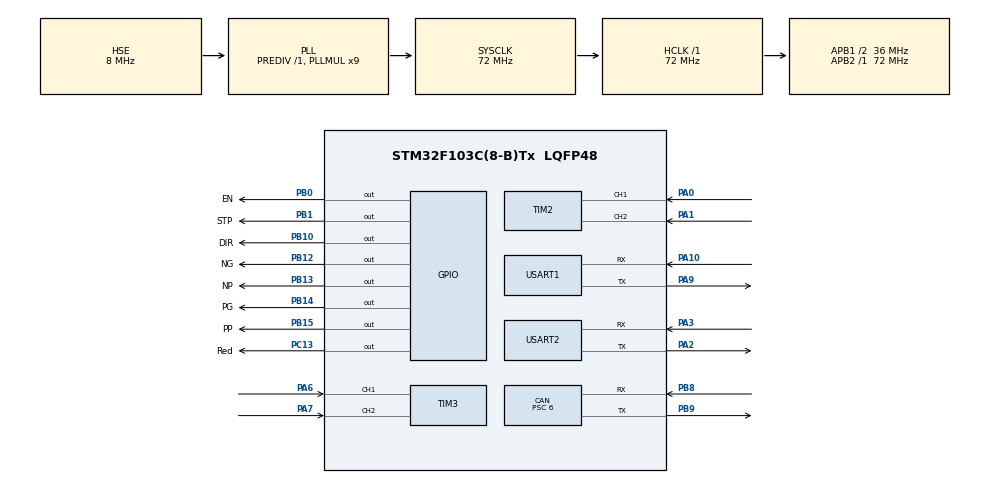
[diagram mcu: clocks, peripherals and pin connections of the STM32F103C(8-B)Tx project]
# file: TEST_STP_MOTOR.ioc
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CAN.BS1=CAN_BS1_2TQ
CAN.BS2=CAN_BS2_3TQ
CAN.CalculateBaudRate=999999
CAN.CalculateTimeBit=1000
CAN.CalculateTimeQuantum=166.66666666666669
CAN.NART=DISABLE
CAN.Prescaler=6
Mcu.Family=STM32F1
Mcu.Name=STM32F103C(8-B)Tx
Mcu.Package=LQFP48
NVIC.PriorityGroup=NVIC_PRIORITYGROUP_0
NVIC.TIM1_UP_IRQn=true\:0\:0\:false\:false\:true\:true\:true\:true
NVIC.TIM2_IRQn=true\:0\:0\:false\:false\:true\:true\:true\:true
NVIC.TIM3_IRQn=true\:0\:0\:false\:false\:true\:true\:true\:true
NVIC.USART1_IRQn=true\:0\:0\:false\:false\:true\:true\:true\:true
NVIC.USART2_IRQn=true\:0\:0\:false\:false\:true\:true\:true\:true
NVIC.USB_LP_CAN1_RX0_IRQn=true\:0\:0\:false\:false\:true\:true\:true\:true
PA0-WKUP.GPIO_PuPd=GPIO_PULLUP
PA0-WKUP.Signal=S_TIM2_CH1_ETR
PA1.GPIO_PuPd=GPIO_PULLUP
PA1.Signal=S_TIM2_CH2
PA10.Mode=Asynchronous
PA10.Signal=USART1_RX
PA13.Mode=Serial_Wire
PA13.Signal=SYS_JTMS-SWDIO
PA14.Mode=Serial_Wire
PA14.Signal=SYS_JTCK-SWCLK
PA2.Mode=Asynchronous
PA2.Signal=USART2_TX
PA3.Mode=Asynchronous
PA3.Signal=USART2_RX
PA6.GPIO_PuPd=GPIO_PULLUP
PA6.Signal=S_TIM3_CH1
PA7.GPIO_PuPd=GPIO_PULLUP
PA7.Signal=S_TIM3_CH2
PA9.Mode=Asynchronous
PA9.Signal=USART1_TX
PB0.GPIO_Label=EN
PB0.Signal=GPIO_Output
PB1.GPIO_Label=STP
PB1.Signal=GPIO_Output
PB10.GPIO_Label=DIR
PB10.Signal=GPIO_Output
PB12.GPIO_Label=NG
PB12.GPIO_Speed=GPIO_SPEED_FREQ_HIGH
PB12.PinState=GPIO_PIN_SET
PB12.Signal=GPIO_Output
PB13.GPIO_Label=NP
PB13.GPIO_Speed=GPIO_SPEED_FREQ_HIGH
PB13.PinState=GPIO_PIN_SET
PB13.Signal=GPIO_Output
PB14.GPIO_Label=PG
PB14.GPIO_Speed=GPIO_SPEED_FREQ_HIGH
PB14.PinState=GPIO_PIN_SET
PB14.Signal=GPIO_Output
PB15.GPIO_Label=PP
PB15.GPIO_Speed=GPIO_SPEED_FREQ_HIGH
PB15.PinState=GPIO_PIN_SET
PB15.Signal=GPIO_Output
PB8.Mode=CAN_Activate
PB8.Signal=CAN_RX
PB9.Mode=CAN_Activate
PB9.Signal=CAN_TX
PC13-TAMPER-RTC.GPIO_Label=Red
PC13-TAMPER-RTC.Signal=GPIO_Output
PC14-OSC32_IN.Mode=LSE-External-Oscillator
PC14-OSC32_IN.Signal=RCC_OSC32_IN
PC15-OSC32_OUT.Mode=LSE-External-Oscillator
PC15-OSC32_OUT.Signal=RCC_OSC32_OUT
PD0-OSC_IN.Mode=HSE-External-Oscillator
PD0-OSC_IN.Signal=RCC_OSC_IN
PD1-OSC_OUT.Mode=HSE-External-Oscillator
PD1-OSC_OUT.Signal=RCC_OSC_OUT
ProjectManager.HeapSize=0x200
ProjectManager.StackSize=0x400
ProjectManager.TargetToolchain=STM32CubeIDE
RCC.AHBFreq_Value=72000000
RCC.APB1CLKDivider=RCC_HCLK_DIV2
RCC.APB1Freq_Value=36000000
RCC.APB1TimFreq_Value=72000000
RCC.APB2Freq_Value=72000000
RCC.APB2TimFreq_Value=72000000
RCC.HCLKFreq_Value=72000000
RCC.PLLMUL=RCC_PLL_MUL9
RCC.PLLSourceVirtual=RCC_PLLSOURCE_HSE
RCC.SYSCLKFreq_VALUE=72000000
RCC.SYSCLKSource=RCC_SYSCLKSOURCE_PLLCLK
RCC.USBFreq_Value=72000000
SH.S_TIM2_CH1_ETR.0=TIM2_CH1,Encoder_Interface
SH.S_TIM2_CH2.0=TIM2_CH2,Encoder_Interface
SH.S_TIM3_CH1.0=TIM3_CH1,Encoder_Interface
SH.S_TIM3_CH2.0=TIM3_CH2,Encoder_Interface
TIM1.Period=999
TIM1.Prescaler=71
TIM2.AutoReloadPreload=TIM_AUTORELOAD_PRELOAD_DISABLE
TIM2.EncoderMode=TIM_ENCODERMODE_TI12
TIM2.IC1Polarity=TIM_ICPOLARITY_FALLING
TIM2.IC2Polarity=TIM_ICPOLARITY_FALLING
TIM2.TIM_MasterOutputTrigger=TIM_TRGO_ENABLE
TIM2.TIM_MasterSlaveMode=TIM_MASTERSLAVEMODE_ENABLE
TIM3.EncoderMode=TIM_ENCODERMODE_TI12
TIM3.IC1Polarity=TIM_ICPOLARITY_FALLING
TIM3.IC2Polarity=TIM_ICPOLARITY_FALLING
TIM4.Prescaler=71
USART1.VirtualMode=VM_ASYNC
USART2.VirtualMode=VM_ASYNC
VP_TIM1_VS_ClockSourceINT.Mode=Internal
VP_TIM4_VS_ClockSourceINT.Mode=Internal
board=custom

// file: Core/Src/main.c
/* USER CODE BEGIN Header */
/**
 ******************************************************************************
 * @file           : main.c
 * @brief          : Main program body
 ******************************************************************************
 * @attention
 *
 * Copyright (c) 2023 STMicroelectronics.
 * All rights reserved.
 *
 * This software is licensed under terms that can be found in the LICENSE file
 * in the root directory of this software component.
 * If no LICENSE file comes with this software, it is provided AS-IS.
 *
 ******************************************************************************
 */
/* USER CODE END Header */
#include "main.h"

/* USER CODE BEGIN Includes */
#include <stdio.h>
#include <stdbool.h>
#include <string.h>
#include <stdlib.h>
#include <math.h>
/* USER CODE END Includes */

/* USER CODE BEGIN PTD */

CAN_TxHeaderTypeDef TX_CAN_HEADER;
CAN_RxHeaderTypeDef RX_CAN_HEADER;
CAN_FilterTypeDef canfilterconfig;

//=============MODE
#define AC_SERVO 0
#define DC_MOTOR 1

bool Mode = DC_MOTOR;
//=============MOTOR
#define GearboxAC_DtoP 4000*1/360 //Manual setup
#define GearboxStep_DtoP 13.7*816/90 // gear box of step motor
#define PosToDeg 1/45.56424581005592 // convert position to angle

float previousAngle = 0; // Update angle
bool Run = false;

uint16_t count = 0; // for debug
//=============UART
#define TxBufferSize 4  //Transmit Data
#define RxBufferSize 10 //Receive Data Position

#define UART_OK 1
#define UART_NOT_OK 0

uint8_t TxDataUart[TxBufferSize];
uint8_t RxDataUart[RxBufferSize];

int sign; // xet dau cho goc tu step encoder
int Angle; //debug
float Theta = 0; // giai ma goc tu encoder (debug)
float t_sethome = 0;
uint32_t position = 0; // for debug

bool Flag_Uart = UART_OK;

//=============CAN
//uint8_t Data_Decode[6]; //du lieu send (debug)
uint8_t CAN_Data_Rx[8]; // du lieu nhan tu can
uint32_t TxMailBox;

float pulseEnd = 0; //luu xung cho lan tiep
bool Check_Data = 0; //kiem tra du lie

char Data_Saved[8]; //du lieu duoc luu vao sau khi nhan tu CAN
bool flag_send = false; // cho phep gui du lieu
bool flag_run = false;

//=============TIMER1
bool flag_timer1 = false;
bool flag_enable_send = false;

uint8_t countSampleTime = 0; // time for sampling
uint8_t countSendData = 0; // time for send data to CAN

//=============END=============

/* USER CODE END PTD */

/* USER CODE BEGIN PM */
volatile short ExternalPulse;
/* USER CODE END PM */

CAN_HandleTypeDef hcan;

TIM_HandleTypeDef htim1;
TIM_HandleTypeDef htim2;
TIM_HandleTypeDef htim3;
TIM_HandleTypeDef htim4;

UART_HandleTypeDef huart1;
UART_HandleTypeDef huart2;

void SystemClock_Config(void);
static void MX_GPIO_Init(void);
static void MX_TIM1_Init(void);
static void MX_TIM2_Init(void);
static void MX_TIM3_Init(void);
static void MX_TIM4_Init(void);
static void MX_CAN_Init(void);
static void MX_USART2_UART_Init(void);
static void MX_USART1_UART_Init(void);

/* USER CODE BEGIN 0 */
/* Debug configuration */
uint8_t Data_Decode[6];

//=================STEP MOTOR ENCODER (Checked)
uint8_t getCheckSum(uint8_t *buffer,uint8_t size)
{
	uint16_t sum=0;
	for(uint8_t i = 0 ;i < size;i++)
	{
		sum += buffer[i];
	}
	return(sum&0xFF);
}
void ReadUart(uint8_t l_sAddress)
{
	TxDataUart[0] = 0xFA;
	TxDataUart[1] = l_sAddress;
	TxDataUart[2] = 0x31; // Position read mode int32 (4 bytes data last)
	TxDataUart[3] = getCheckSum(TxDataUart,TxBufferSize-1);

	HAL_UART_Transmit_IT(&huart1, TxDataUart, TxBufferSize);

	Flag_Uart = UART_NOT_OK; // cho reset flag khi nhan du lieu len
}
uint32_t DecodeData(uint8_t *input)
{
	uint32_t readValue = (int32_t)(
			((uint32_t)input[0] << 24)    |
			((uint32_t)input[1] << 16)    |
			((uint32_t)input[2] << 8)     |
			((uint32_t)input[3] << 0));
	return readValue;
}
//=================ENCODER DATA (Checked)
void EncodeDataDC(uint8_t dataSend[])
{
	if(Flag_Uart == UART_OK) ReadUart(1);
//	if(Check_Data == 1) // du lieu hop le ?
//	{
		position = DecodeData(&RxDataUart[5]);
		Theta = (float)(PosToDeg*sign*DecodeData(&RxDataUart[5]))*100;
//		Check_Data = 0;
//	}
	Angle = (Theta - t_sethome)/1; // lam tron goc
	int IntValue = abs(Angle/100);
	int DecValue = abs(Angle%100);

	dataSend[0] = DecValue/1%10;
	dataSend[1] = DecValue/10%10;

	dataSend[2] = IntValue/1%10;
	dataSend[3] = IntValue/10%10;
	dataSend[4] = IntValue/100%10;

	if(Theta < 0) dataSend[5] = '-';
	else 		  dataSend[5] = '+';
}
void EncodeDataAC(uint8_t dataSend[])
{
	ExternalPulse = __HAL_TIM_GET_COUNTER(&htim2);
	int Angle = ExternalPulse*100*GearboxAC_DtoP;// AC- x100: 4000 Pulse / Cycle

	int IntValue = abs(Angle/100);
	int DecValue = abs(Angle%100);

	dataSend[0] = DecValue/1%10;
	dataSend[1] = DecValue/10%10;

	dataSend[2] = IntValue/1%10;
	dataSend[3] = IntValue/10%10;
	dataSend[4] = IntValue/100%10;

	if(Angle < 0) dataSend[5] = '-';
	else	      dataSend[5] = '+';
}
//=================TIMER4 COUNTER MODE DELAY (checked)
void delay_us (uint16_t us)
{
	__HAL_TIM_SET_COUNTER(&htim4,0);
	while (__HAL_TIM_GET_COUNTER(&htim4) < us);
}
//=================CONTROL DC MOTOR (checked tempt)
void ForwardDC(uint16_t l_pulseIn, uint16_t timeDelay)
{
	HAL_GPIO_WritePin(DIR_GPIO_Port, DIR_Pin, GPIO_PIN_SET);
	for(uint16_t i =0; i < l_pulseIn; i++)
	{
		HAL_GPIO_WritePin(STP_GPIO_Port, STP_Pin, GPIO_PIN_RESET);
		delay_us(timeDelay);
		HAL_GPIO_WritePin(STP_GPIO_Port, STP_Pin, GPIO_PIN_SET);
		delay_us(timeDelay);
	}
}
void InverseDC(uint16_t l_pulseIn, uint16_t timeDelay)
{
	HAL_GPIO_WritePin(DIR_GPIO_Port, DIR_Pin, GPIO_PIN_RESET);
	for(uint16_t i = 0; i < l_pulseIn; i++)
	{
		HAL_GPIO_WritePin(STP_GPIO_Port, STP_Pin, GPIO_PIN_RESET);
		delay_us(timeDelay);
//		HAL_Delay(timeDelay);
		HAL_GPIO_WritePin(STP_GPIO_Port, STP_Pin, GPIO_PIN_SET);
		delay_us(timeDelay);
//		HAL_Delay(timeDelay);
	}
}
//=================CONTROL AC SERVO (checked tempt)
void Create_pulse_Forward_AC(uint32_t pulse_in, uint32_t time_delay)
{
	HAL_GPIO_WritePin(GPIOB, NG_Pin, GPIO_PIN_RESET);
	HAL_GPIO_WritePin(GPIOB, NP_Pin, GPIO_PIN_SET);
	HAL_GPIO_WritePin(GPIOB, PG_Pin, GPIO_PIN_RESET);
	for (int i = 0; i < pulse_in; i++)
	{
		HAL_GPIO_WritePin(GPIOB, PP_Pin, GPIO_PIN_RESET);
		delay_us(time_delay);
		HAL_GPIO_WritePin(GPIOB, PP_Pin, GPIO_PIN_SET);
		delay_us(time_delay);
	}
}
void Create_pulse_Inverse_AC(uint32_t pulse_in, uint32_t time_delay)
{
	HAL_GPIO_WritePin(GPIOB, NG_Pin, GPIO_PIN_RESET);
	HAL_GPIO_WritePin(GPIOB, NP_Pin, GPIO_PIN_SET);
	HAL_GPIO_WritePin(GPIOB, PG_Pin, GPIO_PIN_SET);
	for (int i = 0; i < pulse_in; i++)
	{
		HAL_GPIO_WritePin(GPIOB, PP_Pin, GPIO_PIN_RESET);
		delay_us(time_delay);
		HAL_GPIO_WritePin(GPIOB, PP_Pin, GPIO_PIN_SET);
		delay_us(time_delay);
	}
}
//=================MODE CONTROL AC SERVO/DC MOTOR (Checked)
void Control_Motor(float DELTA)
{
	if(Mode == AC_SERVO)
	{
		float deltaPulse = DELTA*GearboxAC_DtoP;
		pulseEnd += deltaPulse - (int32_t)deltaPulse;
		int32_t pulseSupply = deltaPulse + (int32_t)pulseEnd/1;

		pulseEnd -= (int32_t)pulseEnd/1;
		if(pulseSupply > 0)
		{
			Create_pulse_Forward_AC(abs(pulseSupply), 100);
		}
		else
		{
			Create_pulse_Inverse_AC(abs(pulseSupply), 100);
		}
	}
	else // DC Motor
	{
		float deltaPulse = DELTA*GearboxStep_DtoP;
		pulseEnd += deltaPulse - (int32_t)deltaPulse;
		int32_t pulseSupply = deltaPulse + (int32_t)pulseEnd/1;

		pulseEnd -= (int32_t)pulseEnd/1;
		if(deltaPulse > 0)
		{
			ForwardDC(abs(pulseSupply), 100);
		}
		else
		{
			InverseDC(abs(pulseSupply), 100);
		}
	}
}
//=================TIMER1 TIMER MODE SAMPLE TIME (checked)
void HAL_UART_RxCpltCallback(UART_HandleTypeDef *huart)
{
	if(HAL_UART_Receive_IT(&huart1, RxDataUart, RxBufferSize) == HAL_OK)
	{
		Flag_Uart = UART_OK;
		if(RxDataUart[0] == 251 && RxDataUart[1] == 1 && RxDataUart [2] == 49)
		{
			Check_Data = 1;
			if(RxDataUart[3] == 255)
			{
				RxDataUart[3] = (~RxDataUart[3]) & 0xFF;
				RxDataUart[4] = (~RxDataUart[4]) & 0xFF;
				RxDataUart[5] = (~RxDataUart[5]) & 0xFF;
				RxDataUart[6] = (~RxDataUart[6]) & 0xFF;
				RxDataUart[7] = (~RxDataUart[7]) & 0xFF;
				RxDataUart[8] = (~RxDataUart[8]) & 0xFF;
				RxDataUart[9] = getCheckSum(RxDataUart, RxBufferSize-1);
				sign = -1;
			}
			else
			{
				sign = 1;
			}
		}
		else
		{
			memset(RxDataUart, 0x00,  RxBufferSize);
			ReadUart(1);
		}
	}
}
//=================TIMER1 TIMER MODE SAMPLE TIME (checked)
void HAL_TIM_PeriodElapsedCallback(TIM_HandleTypeDef *htim)
{
	if(htim->Instance == TIM1)
	{
		countSampleTime++;
		countSendData++;
		if(countSampleTime == 3)
		{
			flag_timer1 = true;
			countSampleTime = 0;
		}
		if(countSendData == 1)
		{
			flag_enable_send = true;
			countSendData = 0;
		}
	}
}
//=================TIMER2 EXTERNAL COUNTER MODE ENCODER (Checked)
void HAL_TIM_PWM_PulseFinishedCallback(TIM_HandleTypeDef *htim)
{
	if(htim->Instance == TIM2)
	{
		ExternalPulse = __HAL_TIM_GET_COUNTER(&htim2);
	}
}
//=================INTERRUPT CAN RECEIVE MESSAGE (Checked)
void HAL_CAN_RxFifo0MsgPendingCallback(CAN_HandleTypeDef *hcan)
{
	if(HAL_CAN_GetRxMessage(hcan, CAN_RX_FIFO0, &RX_CAN_HEADER, CAN_Data_Rx) == HAL_OK)
	{
		switch(RX_CAN_HEADER.StdId)
		{
		case 0x001: // Message from Master
			Data_Saved[0] = CAN_Data_Rx[0];
			Data_Saved[1] = CAN_Data_Rx[1];
			Data_Saved[2] = CAN_Data_Rx[2];
			Data_Saved[3] = CAN_Data_Rx[3];
			Data_Saved[4] = CAN_Data_Rx[4];
			Data_Saved[5] = CAN_Data_Rx[5];
			Data_Saved[6] = CAN_Data_Rx[6];
			Data_Saved[7] = CAN_Data_Rx[7];
			break;
		case 0x000:
			if(CAN_Data_Rx[0] == 's')
			{
				flag_run = true;
			}
			if(CAN_Data_Rx[0] == 'r')
			{
				TIM2->CNT=0;
				ExternalPulse = 0;
				previousAngle = 0;
				// Get message from Encoder step
				t_sethome = (float)(PosToDeg*sign*DecodeData(&RxDataUart[5]))*100;
			}
			break;
		}
	}
	HAL_GPIO_TogglePin(GPIOC, GPIO_PIN_13);
}
/* USER CODE END 0 */

int main(void)
{

	/* MCU Configuration--------------------------------------------------------*/

	/* Reset of all peripherals, Initializes the Flash interface and the Systick. */
	HAL_Init();

	/* Configure the system clock */
	SystemClock_Config();

	/* Initialize all configured peripherals */
	MX_GPIO_Init();
	MX_TIM1_Init();
	MX_TIM2_Init();
	MX_TIM3_Init();
	MX_TIM4_Init();
	MX_CAN_Init();
	MX_USART2_UART_Init();
	MX_USART1_UART_Init();
	/* USER CODE BEGIN 2 */

	//========CAN
	HAL_CAN_Start(&hcan);
	HAL_CAN_ActivateNotification(&hcan, CAN_IT_RX_FIFO0_MSG_PENDING); // Enable interrupts

	//========TIMER AND COUNTER
	HAL_TIM_Base_Start(&htim4);
	HAL_TIM_Base_Start_IT(&htim1);

	//========UART
	HAL_UART_Receive_IT(&huart1, RxDataUart, RxBufferSize);
	HAL_Delay(100);

	//========ENCODER
	HAL_TIM_Encoder_Start_IT(&htim2, TIM_CHANNEL_1|TIM_CHANNEL_2);

	//========SET DEFAULT PIN MODE
	HAL_GPIO_WritePin(GPIOB, PP_Pin, GPIO_PIN_SET);
	HAL_GPIO_WritePin(GPIOB, PG_Pin, GPIO_PIN_SET);
	HAL_GPIO_WritePin(GPIOB, NP_Pin, GPIO_PIN_SET);
	HAL_GPIO_WritePin(GPIOB, NG_Pin, GPIO_PIN_SET);

	/* USER CODE END 2 */

	/* Infinite loop */
	while (1)
	{

		/* USER CODE BEGIN 3 */
		ForwardDC(4000, 100);
//		while(1);
//		InverseDC(10960, 100);
	}
	/* USER CODE END 3 */
}

void SystemClock_Config(void)
{
	RCC_OscInitTypeDef RCC_OscInitStruct = {0};
	RCC_ClkInitTypeDef RCC_ClkInitStruct = {0};

	/** Initializes the RCC Oscillators according to the specified parameters
	 * in the RCC_OscInitTypeDef structure.
	 */
	RCC_OscInitStruct.OscillatorType = RCC_OSCILLATORTYPE_HSE;
	RCC_OscInitStruct.HSEState = RCC_HSE_ON;
	RCC_OscInitStruct.HSEPredivValue = RCC_HSE_PREDIV_DIV1;
	RCC_OscInitStruct.HSIState = RCC_HSI_ON;
	RCC_OscInitStruct.PLL.PLLState = RCC_PLL_ON;
	RCC_OscInitStruct.PLL.PLLSource = RCC_PLLSOURCE_HSE;
	RCC_OscInitStruct.PLL.PLLMUL = RCC_PLL_MUL9;
	if (HAL_RCC_OscConfig(&RCC_OscInitStruct) != HAL_OK)
	{
		Error_Handler();
	}

	/** Initializes the CPU, AHB and APB buses clocks
	 */
	RCC_ClkInitStruct.ClockType = RCC_CLOCKTYPE_HCLK|RCC_CLOCKTYPE_SYSCLK
			|RCC_CLOCKTYPE_PCLK1|RCC_CLOCKTYPE_PCLK2;
	RCC_ClkInitStruct.SYSCLKSource = RCC_SYSCLKSOURCE_PLLCLK;
	RCC_ClkInitStruct.AHBCLKDivider = RCC_SYSCLK_DIV1;
	RCC_ClkInitStruct.APB1CLKDivider = RCC_HCLK_DIV2;
	RCC_ClkInitStruct.APB2CLKDivider = RCC_HCLK_DIV1;

	if (HAL_RCC_ClockConfig(&RCC_ClkInitStruct, FLASH_LATENCY_2) != HAL_OK)
	{
		Error_Handler();
	}
}

static void MX_CAN_Init(void)
{

	hcan.Instance = CAN1;
	hcan.Init.Prescaler = 6;
	hcan.Init.Mode = CAN_MODE_NORMAL;
	hcan.Init.SyncJumpWidth = CAN_SJW_1TQ;
	hcan.Init.TimeSeg1 = CAN_BS1_2TQ;
	hcan.Init.TimeSeg2 = CAN_BS2_3TQ;
	hcan.Init.TimeTriggeredMode = DISABLE;
	hcan.Init.AutoBusOff = DISABLE;
	hcan.Init.AutoWakeUp = DISABLE;
	hcan.Init.AutoRetransmission = DISABLE;
	hcan.Init.ReceiveFifoLocked = DISABLE;
	hcan.Init.TransmitFifoPriority = DISABLE;
	if (HAL_CAN_Init(&hcan) != HAL_OK)
	{
		Error_Handler();
	}
	/* USER CODE BEGIN CAN_Init 2 */
	canfilterconfig.FilterActivation = CAN_FILTER_ENABLE;
	canfilterconfig.FilterBank = 1; // which filter bank to use from the assigned ones
	canfilterconfig.FilterFIFOAssignment = CAN_FILTER_FIFO0; //
	canfilterconfig.FilterIdHigh = 0x001 << 5;
	canfilterconfig.FilterIdLow = 0x000;
	canfilterconfig.FilterMaskIdHigh = 0xffe << 5;
	canfilterconfig.FilterMaskIdLow = 0x000;
	canfilterconfig.FilterMode = CAN_FILTERMODE_IDMASK;
	canfilterconfig.FilterScale = CAN_FILTERSCALE_32BIT;
	canfilterconfig.SlaveStartFilterBank = 1;

	if(HAL_CAN_ConfigFilter(&hcan, &canfilterconfig) != HAL_OK) // add
	{
		Error_Handler();
	}
	/* -----------------------------CAN Transmit and Interrrupts ----------------------------- */
	TX_CAN_HEADER.RTR= CAN_RTR_DATA; //Remote transmission request = Data frame
	TX_CAN_HEADER.IDE= CAN_ID_STD; 	 //Standard Id (11 bits for the identifier)
	TX_CAN_HEADER.DLC= 6;
	TX_CAN_HEADER.StdId = 0x001;

	/* USER CODE END CAN_Init 2 */

}

static void MX_TIM1_Init(void)
{

	TIM_ClockConfigTypeDef sClockSourceConfig = {0};
	TIM_MasterConfigTypeDef sMasterConfig = {0};

	htim1.Instance = TIM1;
	htim1.Init.Prescaler = 71;
	htim1.Init.CounterMode = TIM_COUNTERMODE_UP;
	htim1.Init.Period = 999;
	htim1.Init.ClockDivision = TIM_CLOCKDIVISION_DIV1;
	htim1.Init.RepetitionCounter = 0;
	htim1.Init.AutoReloadPreload = TIM_AUTORELOAD_PRELOAD_DISABLE;
	if (HAL_TIM_Base_Init(&htim1) != HAL_OK)
	{
		Error_Handler();
	}
	sClockSourceConfig.ClockSource = TIM_CLOCKSOURCE_INTERNAL;
	if (HAL_TIM_ConfigClockSource(&htim1, &sClockSourceConfig) != HAL_OK)
	{
		Error_Handler();
	}
	sMasterConfig.MasterOutputTrigger = TIM_TRGO_RESET;
	sMasterConfig.MasterSlaveMode = TIM_MASTERSLAVEMODE_DISABLE;
	if (HAL_TIMEx_MasterConfigSynchronization(&htim1, &sMasterConfig) != HAL_OK)
	{
		Error_Handler();
	}

}

static void MX_TIM2_Init(void)
{

	TIM_Encoder_InitTypeDef sConfig = {0};
	TIM_MasterConfigTypeDef sMasterConfig = {0};

	htim2.Instance = TIM2;
	htim2.Init.Prescaler = 0;
	htim2.Init.CounterMode = TIM_COUNTERMODE_UP;
	htim2.Init.Period = 65535;
	htim2.Init.ClockDivision = TIM_CLOCKDIVISION_DIV1;
	htim2.Init.AutoReloadPreload = TIM_AUTORELOAD_PRELOAD_DISABLE;
	sConfig.EncoderMode = TIM_ENCODERMODE_TI12;
	sConfig.IC1Polarity = TIM_ICPOLARITY_FALLING;
	sConfig.IC1Selection = TIM_ICSELECTION_DIRECTTI;
	sConfig.IC1Prescaler = TIM_ICPSC_DIV1;
	sConfig.IC1Filter = 0;
	sConfig.IC2Polarity = TIM_ICPOLARITY_FALLING;
	sConfig.IC2Selection = TIM_ICSELECTION_DIRECTTI;
	sConfig.IC2Prescaler = TIM_ICPSC_DIV1;
	sConfig.IC2Filter = 0;
	if (HAL_TIM_Encoder_Init(&htim2, &sConfig) != HAL_OK)
	{
		Error_Handler();
	}
	sMasterConfig.MasterOutputTrigger = TIM_TRGO_ENABLE;
	sMasterConfig.MasterSlaveMode = TIM_MASTERSLAVEMODE_ENABLE;
	if (HAL_TIMEx_MasterConfigSynchronization(&htim2, &sMasterConfig) != HAL_OK)
	{
		Error_Handler();
	}

}

static void MX_TIM3_Init(void)
{

	TIM_Encoder_InitTypeDef sConfig = {0};
	TIM_MasterConfigTypeDef sMasterConfig = {0};

	htim3.Instance = TIM3;
	htim3.Init.Prescaler = 0;
	htim3.Init.CounterMode = TIM_COUNTERMODE_UP;
	htim3.Init.Period = 65535;
	htim3.Init.ClockDivision = TIM_CLOCKDIVISION_DIV1;
	htim3.Init.AutoReloadPreload = TIM_AUTORELOAD_PRELOAD_DISABLE;
	sConfig.EncoderMode = TIM_ENCODERMODE_TI12;
	sConfig.IC1Polarity = TIM_ICPOLARITY_FALLING;
	sConfig.IC1Selection = TIM_ICSELECTION_DIRECTTI;
	sConfig.IC1Prescaler = TIM_ICPSC_DIV1;
	sConfig.IC1Filter = 0;
	sConfig.IC2Polarity = TIM_ICPOLARITY_FALLING;
	sConfig.IC2Selection = TIM_ICSELECTION_DIRECTTI;
	sConfig.IC2Prescaler = TIM_ICPSC_DIV1;
	sConfig.IC2Filter = 0;
	if (HAL_TIM_Encoder_Init(&htim3, &sConfig) != HAL_OK)
	{
		Error_Handler();
	}
	sMasterConfig.MasterOutputTrigger = TIM_TRGO_RESET;
	sMasterConfig.MasterSlaveMode = TIM_MASTERSLAVEMODE_DISABLE;
	if (HAL_TIMEx_MasterConfigSynchronization(&htim3, &sMasterConfig) != HAL_OK)
	{
		Error_Handler();
	}

}

static void MX_TIM4_Init(void)
{

	TIM_ClockConfigTypeDef sClockSourceConfig = {0};
	TIM_MasterConfigTypeDef sMasterConfig = {0};

	htim4.Instance = TIM4;
	htim4.Init.Prescaler = 71;
	htim4.Init.CounterMode = TIM_COUNTERMODE_UP;
	htim4.Init.Period = 65535;
	htim4.Init.ClockDivision = TIM_CLOCKDIVISION_DIV1;
	htim4.Init.AutoReloadPreload = TIM_AUTORELOAD_PRELOAD_DISABLE;
	if (HAL_TIM_Base_Init(&htim4) != HAL_OK)
	{
		Error_Handler();
	}
	sClockSourceConfig.ClockSource = TIM_CLOCKSOURCE_INTERNAL;
	if (HAL_TIM_ConfigClockSource(&htim4, &sClockSourceConfig) != HAL_OK)
	{
		Error_Handler();
	}
	sMasterConfig.MasterOutputTrigger = TIM_TRGO_RESET;
	sMasterConfig.MasterSlaveMode = TIM_MASTERSLAVEMODE_DISABLE;
	if (HAL_TIMEx_MasterConfigSynchronization(&htim4, &sMasterConfig) != HAL_OK)
	{
		Error_Handler();
	}

}

static void MX_USART1_UART_Init(void)
{

	huart1.Instance = USART1;
	huart1.Init.BaudRate = 115200;
	huart1.Init.WordLength = UART_WORDLENGTH_8B;
	huart1.Init.StopBits = UART_STOPBITS_1;
	huart1.Init.Parity = UART_PARITY_NONE;
	huart1.Init.Mode = UART_MODE_TX_RX;
	huart1.Init.HwFlowCtl = UART_HWCONTROL_NONE;
	huart1.Init.OverSampling = UART_OVERSAMPLING_16;
	if (HAL_UART_Init(&huart1) != HAL_OK)
	{
		Error_Handler();
	}

}

static void MX_USART2_UART_Init(void)
{

	huart2.Instance = USART2;
	huart2.Init.BaudRate = 115200;
	huart2.Init.WordLength = UART_WORDLENGTH_8B;
	huart2.Init.StopBits = UART_STOPBITS_1;
	huart2.Init.Parity = UART_PARITY_NONE;
	huart2.Init.Mode = UART_MODE_TX_RX;
	huart2.Init.HwFlowCtl = UART_HWCONTROL_NONE;
	huart2.Init.OverSampling = UART_OVERSAMPLING_16;
	if (HAL_UART_Init(&huart2) != HAL_OK)
	{
		Error_Handler();
	}

}

static void MX_GPIO_Init(void)
{
	GPIO_InitTypeDef GPIO_InitStruct = {0};

	/* GPIO Ports Clock Enable */
	__HAL_RCC_GPIOC_CLK_ENABLE();
	__HAL_RCC_GPIOD_CLK_ENABLE();
	__HAL_RCC_GPIOA_CLK_ENABLE();
	__HAL_RCC_GPIOB_CLK_ENABLE();

	/*Configure GPIO pin Output Level */
	HAL_GPIO_WritePin(Red_GPIO_Port, Red_Pin, GPIO_PIN_RESET);

	/*Configure GPIO pin Output Level */
	HAL_GPIO_WritePin(GPIOB, EN_Pin|STP_Pin|DIR_Pin, GPIO_PIN_RESET);

	/*Configure GPIO pin Output Level */
	HAL_GPIO_WritePin(GPIOB, NG_Pin|NP_Pin|PG_Pin|PP_Pin, GPIO_PIN_SET);

	/*Configure GPIO pin : Red_Pin */
	GPIO_InitStruct.Pin = Red_Pin;
	GPIO_InitStruct.Mode = GPIO_MODE_OUTPUT_PP;
	GPIO_InitStruct.Pull = GPIO_NOPULL;
	GPIO_InitStruct.Speed = GPIO_SPEED_FREQ_LOW;
	HAL_GPIO_Init(Red_GPIO_Port, &GPIO_InitStruct);

	/*Configure GPIO pins : EN_Pin STP_Pin DIR_Pin */
	GPIO_InitStruct.Pin = EN_Pin|STP_Pin|DIR_Pin;
	GPIO_InitStruct.Mode = GPIO_MODE_OUTPUT_PP;
	GPIO_InitStruct.Pull = GPIO_NOPULL;
	GPIO_InitStruct.Speed = GPIO_SPEED_FREQ_LOW;
	HAL_GPIO_Init(GPIOB, &GPIO_InitStruct);

	/*Configure GPIO pins : NG_Pin NP_Pin PG_Pin PP_Pin */
	GPIO_InitStruct.Pin = NG_Pin|NP_Pin|PG_Pin|PP_Pin;
	GPIO_InitStruct.Mode = GPIO_MODE_OUTPUT_PP;
	GPIO_InitStruct.Pull = GPIO_NOPULL;
	GPIO_InitStruct.Speed = GPIO_SPEED_FREQ_HIGH;
	HAL_GPIO_Init(GPIOB, &GPIO_InitStruct);

}

void Error_Handler(void)
{
	__disable_irq();
	while (1)
	{
	}
}
